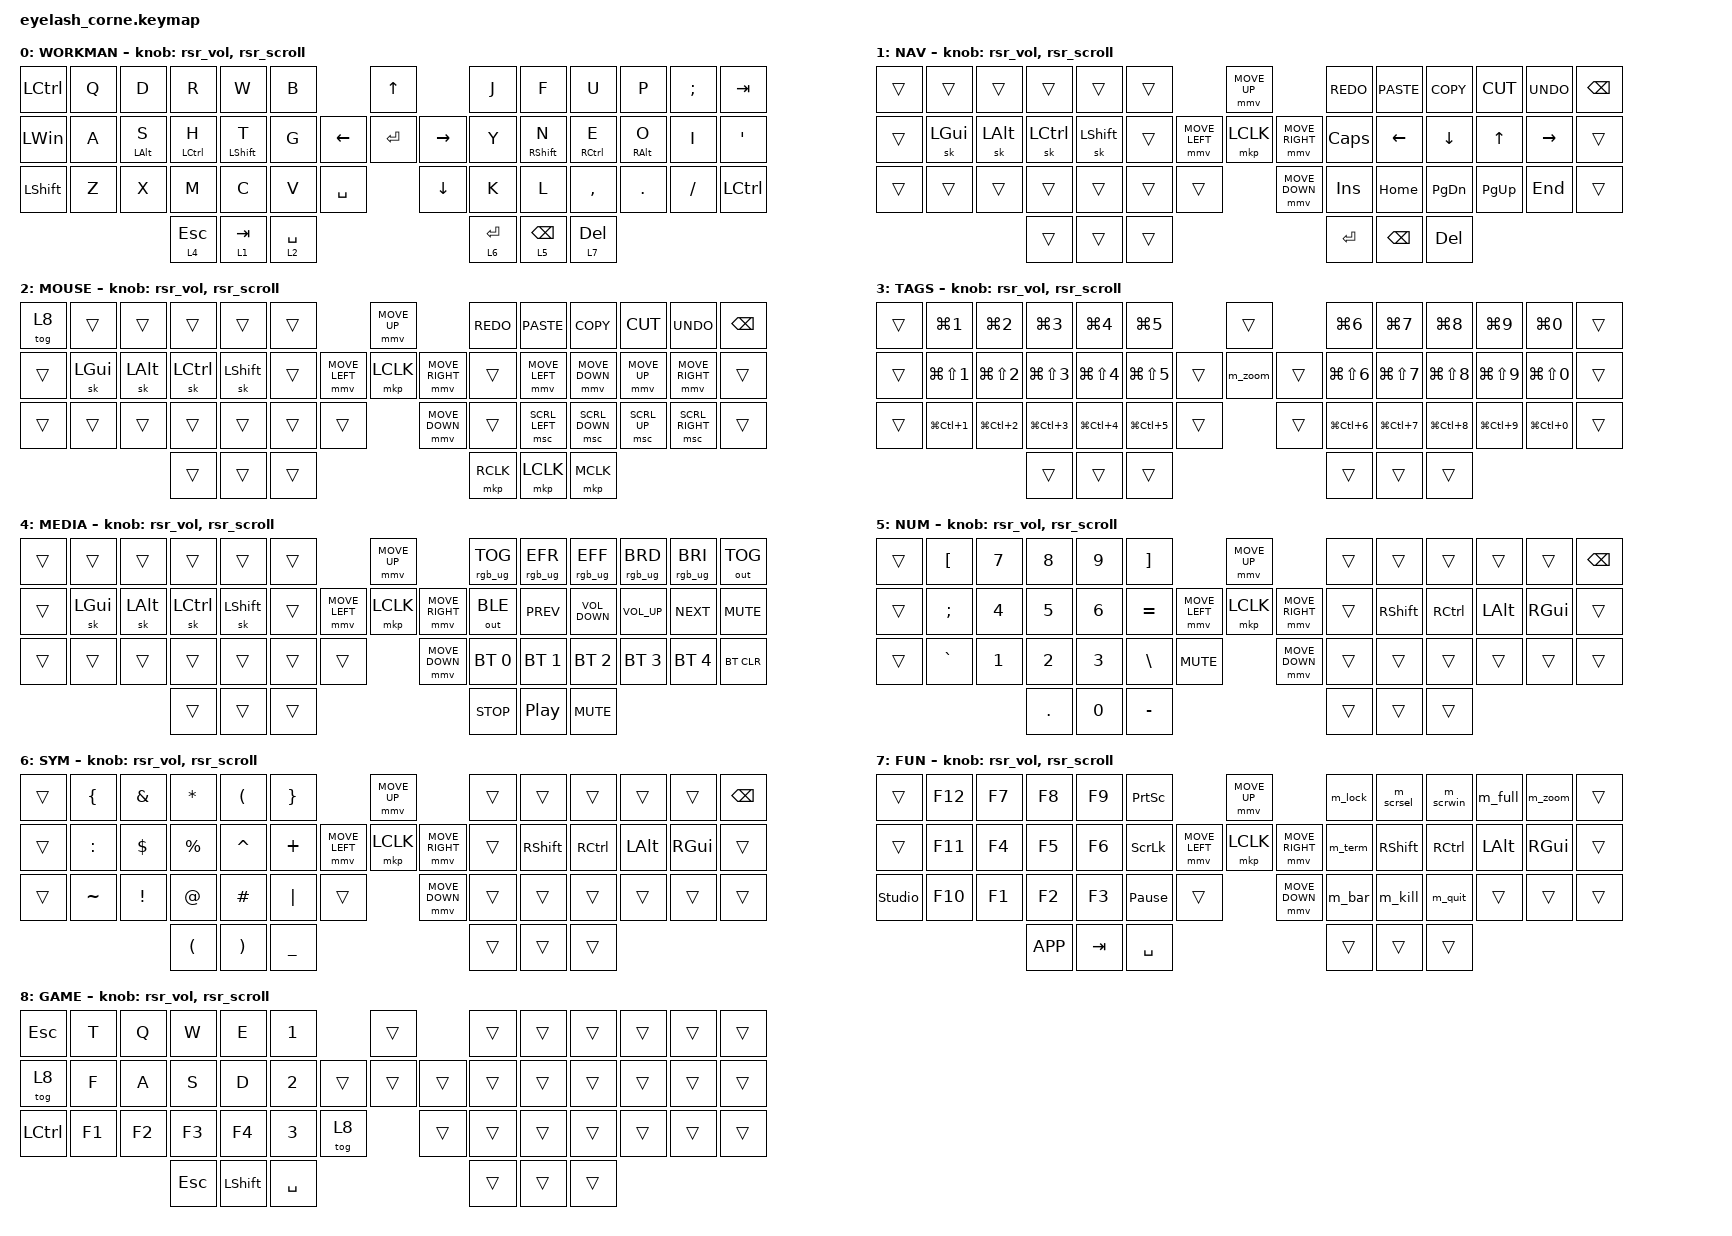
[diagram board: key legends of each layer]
#define ZMK_POINTING_DEFAULT_MOVE_VAL 1500
#define ZMK_POINTING_DEFAULT_SCRL_VAL 25

#include <input/processors.dtsi>
#include <zephyr/dt-bindings/input/input-event-codes.h>
#include <behaviors/runtime-sensor-rotate.dtsi>
#include <behaviors.dtsi>
#include <dt-bindings/zmk/bt.h>
#include <dt-bindings/zmk/outputs.h>
#include <dt-bindings/zmk/keys.h>
#include <dt-bindings/zmk/pointing.h>
#include <dt-bindings/zmk/rgb.h>

&mmv_input_listener { input-processors = <&zip_xy_scaler 2 1>; };

&msc_input_listener { input-processors = <&zip_scroll_scaler 2 1>; };

&msc {
    acceleration-exponent = <1>;
    time-to-max-speed-ms = <300>;
    delay-ms = <0>;
};

&mmv {
    time-to-max-speed-ms = <300>;
    acceleration-exponent = <1>;
    trigger-period-ms = <16>;
};

&soft_off { hold-time-ms = <2000>; };

/ {
    behaviors {
        td0: td0 {
            compatible = "zmk,behavior-tap-dance";
            display-name = "Shift / Caps Word";
            #binding-cells = <0>;
            bindings = <&kp LEFT_SHIFT>, <&caps_word>;
        };

        // Guarded layer-tap for the SPACE thumb. The stock &lt has no
        // quick-tap and no prior-idle guard, so a thumb held a few ms too
        // long mid-word silently swaps in a whole layer under your fingers.
        // MOUSE is never wanted mid-word, so forcing a tap within 150ms of
        // a letter costs nothing here.

        ltq: layer_tap_guarded {
            compatible = "zmk,behavior-hold-tap";
            #binding-cells = <2>;
            flavor = "balanced";
            tapping-term-ms = <200>;
            quick-tap-ms = <175>;
            require-prior-idle-ms = <150>;
            bindings = <&mo>, <&kp>;
        };

        // Fast layer-tap for the left ESC/TAB thumbs. Neither is rolled into
        // mid-word, so they need no prior-idle guard -- that guard is what
        // made NAV feel sluggish, since a thumb pressed within 150ms of a
        // letter was forced to tap and you got a literal TAB instead of the
        // layer.

        lth: layer_tap_fast {
            compatible = "zmk,behavior-hold-tap";
            #binding-cells = <2>;
            flavor = "balanced";
            tapping-term-ms = <180>;
            quick-tap-ms = <175>;
            bindings = <&mo>, <&kp>;
        };

        // Right thumbs (SYM/NUM/FUN). Their layers put everything on the
        // left hand, and "-", "_", "(" and "." are typed mid-word at full
        // speed, so a prior-idle guard cannot work here: it forced the NUM
        // thumb to tap whenever it followed a letter within 150ms, sending
        // BACKSPACE plus the left thumb's base key (SPACE/ESC) instead.
        // Positional hold replaces it: a left-hand key resolves the hold at
        // once, a right-hand letter rolled after a tap stays a tap. The
        // right home row (23-26) is kept so the mods on NUM/SYM/FUN still
        // chord with the left-hand digits and symbols.

        ltr: layer_tap_right {
            compatible = "zmk,behavior-hold-tap";
            #binding-cells = <2>;
            flavor = "balanced";
            tapping-term-ms = <200>;
            quick-tap-ms = <175>;
            hold-trigger-key-positions = <
                0  1  2  3  4  5  6
               13 14 15 16 17 18 19 20 21
               28 29 30 31 32 33 34 35
               42 43 44
               12 23 24 25 26
            >;

            bindings = <&mo>, <&kp>;
        };

        // Left-hand HRM. Fires only when the next key is on the right half
        // (or in the middle cluster). Prevents same-hand misfires while typing.

        hml: home_row_mods_left {
            compatible = "zmk,behavior-hold-tap";
            #binding-cells = <2>;
            tapping-term-ms = <180>;
            quick-tap-ms = <175>;
            require-prior-idle-ms = <150>;
            flavor = "tap-preferred";
            hold-trigger-key-positions = <
                6  7  8  9 10 11 12
               19 20 21 22 23 24 25 26 27
               34 35 36 37 38 39 40 41
               45 46 47
            >;

            hold-trigger-on-release;
            bindings = <&kp>, <&kp>;
        };

        // Right-hand HRM. Mirror of hml; fires only when the next key is
        // on the left half (or in the middle cluster).

        hmr: home_row_mods_right {
            compatible = "zmk,behavior-hold-tap";
            #binding-cells = <2>;
            tapping-term-ms = <180>;
            quick-tap-ms = <175>;
            require-prior-idle-ms = <150>;
            flavor = "tap-preferred";
            hold-trigger-key-positions = <
                0  1  2  3  4  5  6
               13 14 15 16 17 18 19 20 21
               28 29 30 31 32 33 34 35
               42 43 44
            >;

            hold-trigger-on-release;
            bindings = <&kp>, <&kp>;
        };

        rsr_vol: rsr_vol {
            compatible = "zmk,behavior-runtime-sensor-rotate";
            #sensor-binding-cells = <0>;
            tap-ms = <5>;
            cw-binding = <&kp C_VOL_UP>;
            ccw-binding = <&kp C_VOL_DN>;
        };

        rsr_scroll: rsr_scroll {
            compatible = "zmk,behavior-runtime-sensor-rotate";
            #sensor-binding-cells = <0>;
            tap-ms = <5>;
            cw-binding = <&msc SCRL_DOWN>;
            ccw-binding = <&msc SCRL_UP>;
        };

        rsr_trans: rsr_trans {
            compatible = "zmk,behavior-runtime-sensor-rotate";
            #sensor-binding-cells = <0>;
            tap-ms = <0>;
        };
    };

    macros {
        // --- dwm shift-chord macros -----------------------------------------

        m_lock: m_lock {
            compatible = "zmk,behavior-macro";
            #binding-cells = <0>;
            bindings =
                <&macro_press>,
                <&kp LGUI &kp LSHFT>,
                <&macro_tap>,
                <&kp L>,
                <&macro_release>,
                <&kp LSHFT &kp LGUI>;

            wait-ms = <10>;
            tap-ms = <10>;
        };

        m_scrsel: m_scrsel {
            compatible = "zmk,behavior-macro";
            #binding-cells = <0>;
            bindings =
                <&macro_press>,
                <&kp LGUI &kp LSHFT>,
                <&macro_tap>,
                <&kp S>,
                <&macro_release>,
                <&kp LSHFT &kp LGUI>;

            wait-ms = <10>;
            tap-ms = <10>;
        };

        m_scrwin: m_scrwin {
            compatible = "zmk,behavior-macro";
            #binding-cells = <0>;
            bindings =
                <&macro_press>,
                <&kp LGUI &kp LSHFT>,
                <&macro_tap>,
                <&kp W>,
                <&macro_release>,
                <&kp LSHFT &kp LGUI>;

            wait-ms = <10>;
            tap-ms = <10>;
        };

        m_full: m_full {
            compatible = "zmk,behavior-macro";
            #binding-cells = <0>;
            bindings =
                <&macro_press>,
                <&kp LGUI &kp LSHFT>,
                <&macro_tap>,
                <&kp F>,
                <&macro_release>,
                <&kp LSHFT &kp LGUI>;

            wait-ms = <10>;
            tap-ms = <10>;
        };

        m_zoom: m_zoom {
            compatible = "zmk,behavior-macro";
            #binding-cells = <0>;
            bindings =
                <&macro_press>,
                <&kp LGUI &kp LSHFT>,
                <&macro_tap>,
                <&kp RET>,
                <&macro_release>,
                <&kp LSHFT &kp LGUI>;

            wait-ms = <10>;
            tap-ms = <10>;
        };

        m_bar: m_bar {
            compatible = "zmk,behavior-macro";
            #binding-cells = <0>;
            bindings =
                <&macro_press>,
                <&kp LGUI &kp LSHFT>,
                <&macro_tap>,
                <&kp B>,
                <&macro_release>,
                <&kp LSHFT &kp LGUI>;

            wait-ms = <10>;
            tap-ms = <10>;
        };

        m_kill: m_kill {
            compatible = "zmk,behavior-macro";
            #binding-cells = <0>;
            bindings =
                <&macro_press>,
                <&kp LGUI>,
                <&macro_tap>,
                <&kp Q>,
                <&macro_release>,
                <&kp LGUI>;

            wait-ms = <10>;
            tap-ms = <10>;
        };

        m_quit: m_quit {
            compatible = "zmk,behavior-macro";
            #binding-cells = <0>;
            bindings =
                <&macro_press>,
                <&kp LGUI &kp LSHFT>,
                <&macro_tap>,
                <&kp Q>,
                <&macro_release>,
                <&kp LSHFT &kp LGUI>;

            wait-ms = <10>;
            tap-ms = <10>;
        };

        m_term: m_term {
            compatible = "zmk,behavior-macro";
            #binding-cells = <0>;
            bindings =
                <&macro_press>,
                <&kp LGUI>,
                <&macro_tap>,
                <&kp RET>,
                <&macro_release>,
                <&kp LGUI>;

            wait-ms = <10>;
            tap-ms = <10>;
        };
    };

    rgb_encoder: rgb_encoder {
        compatible = "zmk,behavior-sensor-rotate";
        #sensor-binding-cells = <0>;
        bindings = <&rgb_ug RGB_BRI>, <&rgb_ug RGB_BRD>;
    };

    scroll_encoder: scroll_encoder {
        compatible = "zmk,behavior-sensor-rotate";
        #sensor-binding-cells = <0>;
        bindings = <&msc SCRL_DOWN>, <&msc SCRL_UP>;

        tap-ms = <100>;
    };

    combos {
        compatible = "zmk,combos";

        // ---- safety / power -----------------------------------------------

        softoff {
            bindings = <&soft_off>;
            key-positions = <1 15 29>;
            timeout-ms = <50>;
        };

        // ---- typing helpers -----------------------------------------------

        capsword {
            bindings = <&caps_word>;
            key-positions = <33 36>;        // V + K (both index, bottom row)
            layers = <0>;                   // typing helper -- base only
            timeout-ms = <28>;
            require-prior-idle-ms = <200>;
        };

        // ---- Vicinae ------------------------------------------------------

        vicinae_toggle {
            bindings = <&kp LG(SEMI)>;
            key-positions = <14 26>;        // A + I (both pinky home)
            timeout-ms = <28>;
            require-prior-idle-ms = <200>;
        };

        // ---- TAGS layer ---------------------------------------------------

        tags_layer_hold {
            bindings = <&mo 3>;
            key-positions = <18 22>;        // G + Y (both index outer)
            timeout-ms = <30>;
            require-prior-idle-ms = <200>;
        };
    };

    keymap {
        compatible = "zmk,keymap";

        // ===================================================================
        // LAYER 0: BASE (Workman alphas + bilateral HRM, no GUI on home row)
        // ===================================================================

        base {
            display-name = "WORKMAN";
            bindings = <
&kp LCTRL  &kp Q  &kp D        &kp R         &kp W         &kp B                               &kp UP                &kp J        &kp F            &kp U         &kp P        &kp SEMI  &kp TAB
&kp LWIN   &kp A  &hml LALT S  &hml LCTRL H  &hml LSHFT T  &kp G                     &kp LEFT  &kp ENTER  &kp RIGHT  &kp Y        &hmr RSHFT N     &hmr RCTRL E  &hmr RALT O  &kp I     &kp SQT
&kp LSHFT  &kp Z  &kp X        &kp M         &kp C         &kp V        &kp SPACE              &kp DOWN              &kp K        &kp L            &kp COMMA     &kp DOT      &kp FSLH  &kp LCTRL
                               &lth 4 ESC    &lth 1 TAB    &ltq 2 SPACE                                              &ltr 6 ENTER  &ltr 5 BACKSPACE  &ltr 7 DELETE
            >;

            sensor-bindings = <&rsr_vol &rsr_scroll>;
        };

        // ===================================================================
        // LAYER 1: NAV
        // ===================================================================

        nav_layer {
            display-name = "NAV";
            bindings = <
&trans  &trans    &trans    &trans     &trans     &trans                            &mmv MOVE_UP                     &kp K_REDO  &kp K_PASTE     &kp K_COPY     &kp K_CUT     &kp K_UNDO  &kp BSPC
&trans  &sk LGUI  &sk LALT  &sk LCTRL  &sk LSHFT  &trans            &mmv MOVE_LEFT  &mkp LCLK       &mmv MOVE_RIGHT  &kp CAPS    &kp LEFT_ARROW  &kp DOWN       &kp UP_ARROW  &kp RIGHT   &trans
&trans  &trans    &trans    &trans     &trans     &trans  &trans                    &mmv MOVE_DOWN                   &kp INSERT  &kp HOME        &kp PAGE_DOWN  &kp PAGE_UP   &kp END     &trans
                            &trans     &trans     &trans                                                             &kp RET     &kp BSPC        &kp DEL
            >;

            sensor-bindings = <&rsr_vol &rsr_scroll>;
        };

        // ===================================================================
        // LAYER 2: MOUSE
        // ===================================================================

        mouse_layer {
            display-name = "MOUSE";
            bindings = <
&tog 8  &trans    &trans    &trans     &trans     &trans                            &mmv MOVE_UP                     &kp K_REDO  &kp K_PASTE     &kp K_COPY      &kp K_CUT     &kp K_UNDO       &kp BSPC
&trans  &sk LGUI  &sk LALT  &sk LCTRL  &sk LSHFT  &trans            &mmv MOVE_LEFT  &mkp LCLK       &mmv MOVE_RIGHT  &trans      &mmv MOVE_LEFT  &mmv MOVE_DOWN  &mmv MOVE_UP  &mmv MOVE_RIGHT  &trans
&trans  &trans    &trans    &trans     &trans     &trans  &trans                    &mmv MOVE_DOWN                   &trans      &msc SCRL_LEFT  &msc SCRL_DOWN  &msc SCRL_UP  &msc SCRL_RIGHT  &trans
                            &trans     &trans     &trans                                                             &mkp RCLK   &mkp LCLK       &mkp MCLK
            >;

            sensor-bindings = <&rsr_vol &rsr_scroll>;
        };

        // ===================================================================
        // LAYER 3: TAGS  (reached via G+Y combo, momentary &mo 3)
        // top row    = Super+N         (view tag N)
        // home row   = Super+Shift+N   (move active window to tag N)
        // bottom row = Super+Ctrl+N    (toggle view of tag N)
        // ===================================================================

        tags_layer {
            display-name = "TAGS";
            bindings = <
&trans  &kp LG(N1)      &kp LG(N2)      &kp LG(N3)      &kp LG(N4)      &kp LG(N5)                        &trans           &kp LG(N6)      &kp LG(N7)      &kp LG(N8)      &kp LG(N9)      &kp LG(N0)      &trans
&trans  &kp LG(LS(N1))  &kp LG(LS(N2))  &kp LG(LS(N3))  &kp LG(LS(N4))  &kp LG(LS(N5))            &trans  &m_zoom  &trans  &kp LG(LS(N6))  &kp LG(LS(N7))  &kp LG(LS(N8))  &kp LG(LS(N9))  &kp LG(LS(N0))  &trans
&trans  &kp LG(LC(N1))  &kp LG(LC(N2))  &kp LG(LC(N3))  &kp LG(LC(N4))  &kp LG(LC(N5))  &trans            &trans           &kp LG(LC(N6))  &kp LG(LC(N7))  &kp LG(LC(N8))  &kp LG(LC(N9))  &kp LG(LC(N0))  &trans
                                        &trans          &trans          &trans                                             &trans          &trans          &trans
            >;

            sensor-bindings = <&rsr_vol &rsr_scroll>;
        };

        // ===================================================================
        // LAYER 4: MEDIA
        //   bottom row  = BT profile 0..4, then BT_CLR (drop this profile)
        //   top right   = OUT_TOG   (flip USB <-> BLE)
        //   row 1 outer = OUT_BLE   (force wireless -- USB recovery escape)
        //   BT_CLR_ALL is deliberately unbound -- use the settings_reset
        //   firmware if every bond really has to go.
        // ===================================================================

        media_layer {
            display-name = "MEDIA";
            bindings = <
&trans  &trans    &trans    &trans     &trans     &trans                            &mmv MOVE_UP                     &rgb_ug RGB_TOG  &rgb_ug RGB_EFR  &rgb_ug RGB_EFF    &rgb_ug RGB_BRD  &rgb_ug RGB_BRI  &out OUT_TOG
&trans  &sk LGUI  &sk LALT  &sk LCTRL  &sk LSHFT  &trans            &mmv MOVE_LEFT  &mkp LCLK       &mmv MOVE_RIGHT  &out OUT_BLE     &kp C_PREV       &kp C_VOLUME_DOWN  &kp C_VOLUME_UP  &kp C_NEXT       &kp K_MUTE
&trans  &trans    &trans    &trans     &trans     &trans  &trans                    &mmv MOVE_DOWN                   &bt BT_SEL 0     &bt BT_SEL 1     &bt BT_SEL 2       &bt BT_SEL 3     &bt BT_SEL 4     &bt BT_CLR
                            &trans     &trans     &trans                                                             &kp C_STOP       &kp C_PP         &kp C_MUTE
            >;

            sensor-bindings = <&rsr_vol &rsr_scroll>;
        };

        // ===================================================================
        // LAYER 5: NUM
        // ===================================================================

        num_layer {
            display-name = "NUM";
            bindings = <
&trans  &kp LBKT   &kp N7  &kp N8   &kp N9  &kp RBKT                                 &mmv MOVE_UP                     &trans  &trans     &trans     &trans    &trans    &kp BSPC
&trans  &kp SEMI   &kp N4  &kp N5   &kp N6  &kp EQUAL                &mmv MOVE_LEFT  &mkp LCLK       &mmv MOVE_RIGHT  &trans  &kp RSHFT  &kp RCTRL  &kp LALT  &kp RGUI  &trans
&trans  &kp GRAVE  &kp N1  &kp N2   &kp N3  &kp BSLH   &kp K_MUTE                    &mmv MOVE_DOWN                   &trans  &trans     &trans     &trans    &trans    &trans
                           &kp DOT  &kp N0  &kp MINUS                                                                 &trans  &trans     &trans
            >;

            sensor-bindings = <&rsr_vol &rsr_scroll>;
        };

        // ===================================================================
        // LAYER 6: SYM
        // ===================================================================

        sym_layer {
            display-name = "SYM";
            bindings = <
&trans  &kp LBRC   &kp AMPS  &kp ASTRK  &kp LPAR   &kp RBRC                             &mmv MOVE_UP                     &trans  &trans     &trans     &trans    &trans    &kp BSPC
&trans  &kp COLON  &kp DLLR  &kp PRCNT  &kp CARET  &kp PLUS             &mmv MOVE_LEFT  &mkp LCLK       &mmv MOVE_RIGHT  &trans  &kp RSHFT  &kp RCTRL  &kp LALT  &kp RGUI  &trans
&trans  &kp TILDE  &kp EXCL  &kp AT     &kp HASH   &kp PIPE   &trans                    &mmv MOVE_DOWN                   &trans  &trans     &trans     &trans    &trans    &trans
                             &kp LPAR   &kp RPAR   &kp UNDER                                                             &trans  &trans     &trans
            >;

            sensor-bindings = <&rsr_vol &rsr_scroll>;
        };

        // ===================================================================
        // LAYER 7: FUN  (F-keys on the left, dwm WM cluster on the right)
        //   right top:  LOCK | SCR-SEL | SCR-WIN | FULL | ZOOM
        //   right mid:  TERM | passthrough mods
        //   right bot:  BAR  | KILL    | QUIT
        // ===================================================================

        fun_layer {
            display-name = "FUN";
            bindings = <
&trans          &kp F12  &kp F7  &kp F8     &kp F9   &kp PSCRN                                  &mmv MOVE_UP                     &m_lock  &m_scrsel  &m_scrwin  &m_full   &m_zoom   &trans
&trans          &kp F11  &kp F4  &kp F5     &kp F6   &kp SLCK                   &mmv MOVE_LEFT  &mkp LCLK       &mmv MOVE_RIGHT  &m_term  &kp RSHFT  &kp RCTRL  &kp LALT  &kp RGUI  &trans
&studio_unlock  &kp F10  &kp F1  &kp F2     &kp F3   &kp PAUSE_BREAK  &trans                    &mmv MOVE_DOWN                   &m_bar   &m_kill    &m_quit    &trans    &trans    &trans
                                 &kp K_APP  &kp TAB  &kp SPACE                                                                   &trans   &trans     &trans
            >;

            sensor-bindings = <&rsr_vol &rsr_scroll>;
        };

        // ===================================================================
        // LAYER 8: MC (Minecraft / game layer — toggled via &tog 8)
        // ===================================================================

        mc {
            display-name = "GAME";
            bindings = <
&kp ESC    &kp T   &kp Q   &kp W    &kp E       &kp N1                       &trans          &trans  &trans  &trans  &trans  &trans  &trans
&tog 8     &kp F   &kp A   &kp S    &kp D       &kp N2               &trans  &trans  &trans  &trans  &trans  &trans  &trans  &trans  &trans
&kp LCTRL  &kp F1  &kp F2  &kp F3   &kp F4      &kp N3     &tog 8            &trans          &trans  &trans  &trans  &trans  &trans  &trans
                           &kp ESC  &kp LSHIFT  &kp SPACE                                    &trans  &trans  &trans
            >;

            sensor-bindings = <&rsr_vol &rsr_scroll>;
        };
    };
};

